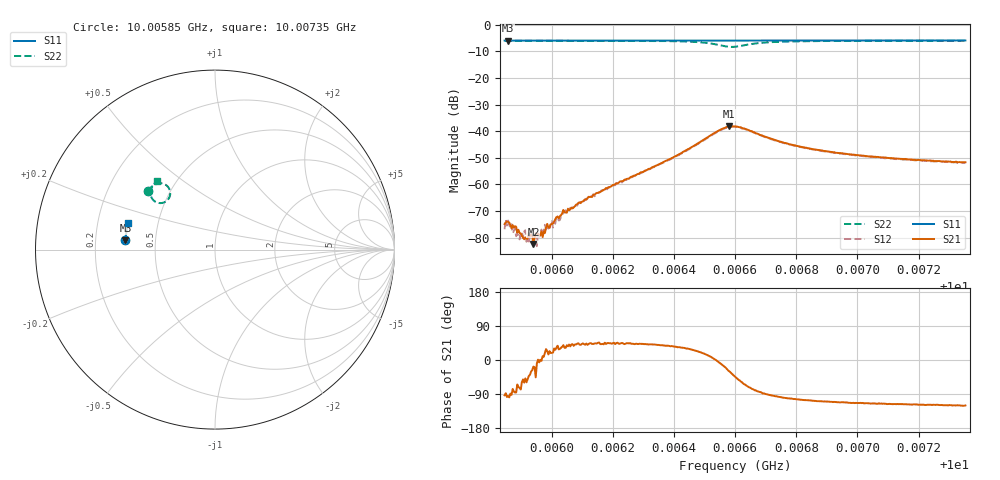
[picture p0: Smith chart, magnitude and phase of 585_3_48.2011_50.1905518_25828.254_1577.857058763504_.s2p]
#  HZ  S  RI  R  50.00
! Rohde & Schwarz Vector Network Analyzer
! Rohde-Schwarz,ZNB20-2Port,1311601062101988,3.16
! Created: UTC 3/20/2024, 12:02:16 PM
! freq[Hz]  re:S11  im:S11  re:S21  im:S21  re:S12  im:S12  re:S22  im:S22
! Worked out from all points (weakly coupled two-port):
!   401 points, 10.00585 GHz to 10.00735 GHz, reference 50 ohm
!   highest |S21| = -38.20 dB at 10.00658 GHz (marker M1); lowest = -82.5 dB at 10.00594 GHz (marker M2)
!   lowest |S11| = -6.0 dB at 10.00586 GHz (marker M3), VSWR 3.02, Z = 16.6 + j2.31 ohm
!   |S11| at or under -10 dB: nowhere
!   |S22| runs from -8.4 to -6.0 dB; largest |S21 - S12| = 0.00097
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1.0005846e10  -0.4995 0.0512  -9.83e-06 -0.000179  9.47e-07 -0.000143  -0.3756 0.3267
1.0005857e10  -0.4993 0.0519  -1.85e-05 -0.000196  4.22e-06 -0.000209  -0.375 0.3275
1.0005891e10  -0.4993 0.0541  4.32e-05 -0.000133  3.11e-05 -0.000106  -0.3731 0.3295
1.000591e10  -0.4992 0.0553  4.69e-05 -8.03e-05  8.76e-05 -9.59e-05  -0.3723 0.3306
1.0005925e10  -0.499 0.0564  9.04e-05 -8.17e-05  7.62e-05 -3.55e-05  -0.3714 0.3317
1.000594e10  -0.499 0.0573  7.18e-05 -2.27e-05  9.89e-05 -3.46e-05  -0.3705 0.3326
1.0005955e10  -0.4989 0.0583  0.000118 1.88e-06  0.000129 1.12e-05  -0.3698 0.3337
1.000597e10  -0.4988 0.0593  0.0001 1.79e-05  0.000103 3.32e-06  -0.3688 0.3346
1.0005989e10  -0.4987 0.0605  0.000151 3.95e-05  0.000147 8.7e-06  -0.3677 0.3357
1.0006034e10  -0.4984 0.0634  0.000233 0.000163  0.00021 0.000137  -0.365 0.3388
1.0006045e10  -0.4983 0.0643  0.000251 0.000157  0.000269 0.000178  -0.3644 0.3397
1.0006098e10  -0.498 0.0676  0.000348 0.000315  0.000331 0.000315  -0.3608 0.3431
1.0006204e10  -0.4971 0.0745  0.000688 0.000696  0.000653 0.000705  -0.3524 0.3511
1.0006351e10  -0.496 0.0841  0.00183 0.00152  0.00174 0.00159  -0.3334 0.3636
1.0006501e10  -0.494 0.0939  0.00688 0.00194  0.0066 0.00226  -0.2788 0.3631
1.0006581e10  -0.4925 0.0983  0.0107 -0.00609  0.0106 -0.00523  -0.2578 0.2842
1.0006599e10  -0.4925 0.0991  0.00882 -0.00851  0.00921 -0.00777  -0.2786 0.2652
1.0006682e10  -0.4925 0.1041  0.000775 -0.0084  0.00114 -0.00831  -0.3522 0.2869
1.0006765e10  -0.4916 0.1098  -0.00105 -0.00587  -0.000774 -0.00577  -0.3595 0.3196
1.0006852e10  -0.4907 0.1153  -0.00136 -0.00438  -0.00113 -0.00439  -0.3554 0.3378
1.0007104e10  -0.4872 0.1316  -0.00135 -0.0028  -0.0012 -0.0028  -0.3399 0.3643
1.0007353e10  -0.4833 0.1469  -0.00129 -0.00225  -0.00113 -0.00222  -0.3259 0.3801
